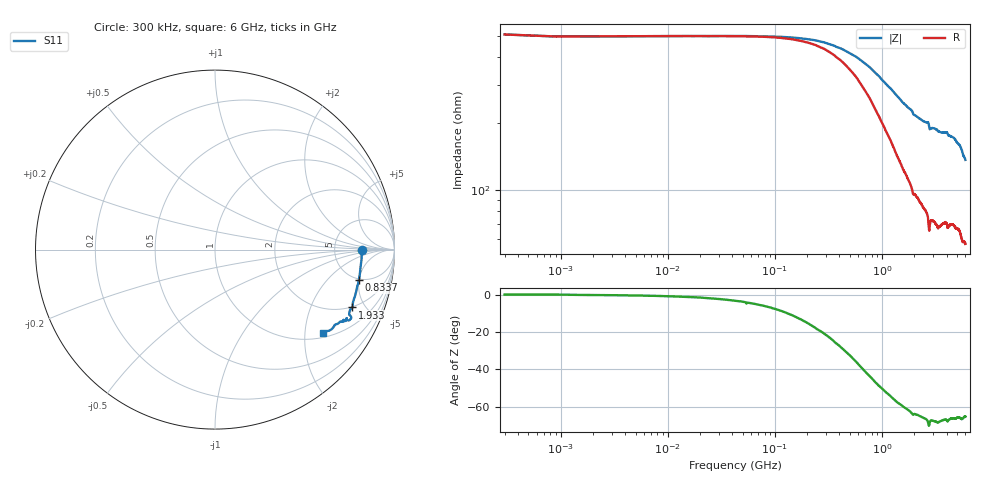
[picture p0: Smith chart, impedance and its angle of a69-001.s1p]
!  3/12/2021  06:41:51
! Ref Plane: 23.990 mm
# MHZ S MA R  50
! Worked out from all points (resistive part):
!   10001 points, 300 kHz to 6 GHz, reference 50 ohm
!   read as one part to ground: R = 498 ohm at 30.3 MHz
!   S11 on the Smith chart (normalised r, x): 300 kHz: 10, +0; 833.7 MHz: 4.80, -4.96; 1.933 GHz: 1.95, -4.06; 6 GHz: 1.14, -2.49
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0.3  0.8202 0.0
384.2808  0.817 -5.8
750.2625  0.8189 -10.9
833.6583  0.8186 -12.0
1098.245  0.8193 -15.2
1500.225  0.8216 -19.3
1853.607  0.8269 -22.0
1932.803  0.8306 -22.9
2003.6  0.8244 -23.5
2250.188  0.8258 -24.6
2551.972  0.8296 -25.7
2661.167  0.8362 -26.0
2719.364  0.8493 -26.7
2761.962  0.8437 -27.9
2821.359  0.8277 -27.7
3000.15  0.8281 -27.5
3350.532  0.8298 -28.6
3750.113  0.8184 -28.7
3908.505  0.8167 -28.6
4066.897  0.8215 -28.9
4117.894  0.8193 -29.4
4187.491  0.8132 -29.6
4500.075  0.8056 -29.9
4777.261  0.8021 -30.5
5250.038  0.7891 -32.2
5532.023  0.7876 -34.1
5757.012  0.7714 -36.1
6000  0.7596 -37.5
